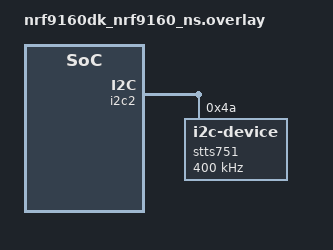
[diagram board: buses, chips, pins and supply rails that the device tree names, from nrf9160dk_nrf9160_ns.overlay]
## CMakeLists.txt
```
# SPDX-License-Identifier: Apache-2.0

cmake_minimum_required(VERSION 3.20.0)

find_package(Zephyr REQUIRED HINTS $ENV{ZEPHYR_BASE})
project(Smart-farm)

target_sources(app PRIVATE src/main.c)
target_sources(app PRIVATE src/cloud_connection.c)
target_sources(app PRIVATE src/cloud_connection.h)
target_sources(app PRIVATE src/lte_connection.c)
target_sources(app PRIVATE src/lte_connection.h)
target_sources(app PRIVATE src/data_aquistion.c)
target_sources(app PRIVATE src/data_aquistion.h)
```

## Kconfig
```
menu "Smart-farm"

config COAP_SERVER_HOSTNAME
	string "CoAP server hostname"

config COAP_SERVER_PORT
	int "CoAP server port"
	default 5683

config COAP_TX_RESOURCE
	string "CoAP resource - this is the TX channel of the board"
	default "large-update"

config COAP_RX_RESOURCE
	string "CoAP resource - this is the RX channel of the board"
	default "validate"

endmenu

menu "Zephyr Kernel"
source "Kconfig.zephyr"
endmenu
```

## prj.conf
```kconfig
# Memory
CONFIG_HEAP_MEM_POOL_SIZE=4096
CONFIG_MAIN_STACK_SIZE=4096

CONFIG_LOG=y
CONFIG_MODEM=y
CONFIG_NEWLIB_LIBC_MIN_REQUIRED_HEAP_SIZE=2048


# # Support for multithreading
# CONFIG_MULTITHREADING=y


# General config
CONFIG_EVENTS=y
CONFIG_NEWLIB_LIBC=y
CONFIG_NEWLIB_LIBC_FLOAT_PRINTF=y
CONFIG_RESET_ON_FATAL_ERROR=y
CONFIG_NCS_SAMPLES_DEFAULTS=y

# Modem library
CONFIG_NRF_MODEM_LIB=y

# LTE link control
CONFIG_LTE_LINK_CONTROL=y

# Enable CoAP protocol
CONFIG_COAP=y

# Button and LED support
CONFIG_DK_LIBRARY=y

# Enable I2C protocol
CONFIG_I2C=y

#Enable SPI protocol
CONFIG_SPI=y


#Enable floating point format
CONFIG_CBPRINTF_FP_SUPPORT=y

#Cloud
CONFIG_NRF_CLOUD_CONNECTION_POLL_THREAD=y
# nRF Cloud
CONFIG_NRF_CLOUD_MQTT=y # This also enables FOTA by implicitly setting CONFIG_NRF_CLOUD_FOTA=y

# Settings - used by nRF Cloud library and PGPS
CONFIG_SETTINGS=y
CONFIG_SETTINGS_FCB=y
CONFIG_FCB=y


# MQTT
CONFIG_MQTT_KEEPALIVE=120

#json 
CONFIG_CJSON_LIB=y
CONFIG_NEWLIB_LIBC=y
CONFIG_NEWLIB_LIBC_FLOAT_PRINTF=y

CONFIG_DATE_TIME=y

# Network
CONFIG_NETWORKING=y
CONFIG_NET_NATIVE=n
CONFIG_NET_SOCKETS=y
CONFIG_NET_SOCKETS_OFFLOAD=y
CONFIG_NET_SOCKETS_POSIX_NAMES=y

#Configure the CoAP server hostname
CONFIG_COAP_SERVER_HOSTNAME="californium.eclipseprojects.io"

#Configure the CoAP resource for TX and RX communication
CONFIG_COAP_TX_RESOURCE="large-update"
CONFIG_COAP_RX_RESOURCE="validate"
```

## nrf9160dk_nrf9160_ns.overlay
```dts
// To get started, press Ctrl+Space to bring up the completion menu and view the available nodes.

// You can also use the buttons in the sidebar to perform actions on nodes.
// Actions currently available include:

// * Enabling / disabling the node
// * Adding the bus to a bus
// * Removing the node
// * Connecting ADC channels

// For more help, browse the DeviceTree documentation at https://docs.zephyrproject.org/latest/guides/dts/index.html
// You can also visit the nRF DeviceTree extension documentation at https://nrfconnect.github.io/vscode-nrf-connect/devicetree/nrfdevicetree.html
&i2c2 {
    stts751: stts751@4a{
        compatible = "i2c-device";
        status = "okay";
        sda-pin = <30>;
	    scl-pin = <31>;
        reg = < 0x4a >;
        clock-frequency = <I2C_BITRATE_FAST>;
    };
};
```

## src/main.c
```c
#include "data_aquistion.h"
#include "cloud_connection.h"

#include <zephyr/kernel.h>
#include <zephyr/logging/log.h>

#include <zephyr/device.h>
#include <zephyr/devicetree.h>

#define STACK_SIZE 2048

LOG_MODULE_REGISTER(main, LOG_LEVEL_DBG);

K_THREAD_DEFINE(con_thread, STACK_SIZE, cloud_connection_thread,
				NULL, NULL, NULL, 0, 0, 0);

K_THREAD_DEFINE(application_thread, STACK_SIZE, main_application_thread_fn,
				NULL, NULL, NULL, 0, 0, 0);

int main(void)
{
	return 0;
}
```

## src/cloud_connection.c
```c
#include "cloud_connection.h"
#include "lte_connection.h"

LOG_MODULE_REGISTER(connection, LOG_LEVEL_DBG);

/* Flow control event objects for waiting for key events. */
static K_EVENT_DEFINE(cloud_connection_events);

/**
 * @brief Notify that connection to nRF Cloud has been established.
 */
static void notify_cloud_connected(void)
{
	k_event_post(&cloud_connection_events, CLOUD_READY);
}

/**
 * @brief Notify that a cloud association request has been made.
 */
static void notify_cloud_requested_association(void)
{
	k_event_post(&cloud_connection_events, CLOUD_ASSOCIATION_REQUEST);
}

/**
 * @brief Await a connection to nRF Cloud (ignoring LTE connection state and cloud readiness).
 *
 * @param timeout - The time to wait before timing out.
 * @return true if occurred.
 * @return false if timed out.
 */
static bool await_cloud_connected(k_timeout_t timeout)
{
	LOG_DBG("Awaiting Cloud Connection");
	return k_event_wait(&cloud_connection_events, CLOUD_CONNECTED, false, timeout) != 0;
}

/**
 * @brief Clear nRF Cloud connection events.
 */
static void clear_cloud_connection_events(void)
{
	k_event_set(&cloud_connection_events, 0);
}

/**
 * @brief Notify that a cloud association request has been made.
 */
static bool cloud_has_requested_association(void)
{
	return k_event_wait(&cloud_connection_events, CLOUD_ASSOCIATION_REQUEST,
						false, K_NO_WAIT) != 0;
}

/**
 * @brief Wait for nRF Cloud readiness.
 *
 * @param timeout - The time to wait before timing out.
 * @param timeout_on_disconnection - Should cloud disconnection events count as a timeout?
 * @return true if occurred.
 * @return false if timed out.
 */
static bool await_cloud_ready(k_timeout_t timeout, bool timeout_on_disconnection)
{
	LOG_INF("Awaiting Cloud Ready");
	int await_condition = CLOUD_READY;

	if (timeout_on_disconnection)
	{
		await_condition |= CLOUD_DISCONNECTED;
	}

	return k_event_wait(&cloud_connection_events, await_condition,
						false, timeout) == CLOUD_READY;
}

/**
 * @brief Notify that cloud connection is ready.
 */
static void notify_cloud_ready(void)
{
	k_event_post(&cloud_connection_events, CLOUD_READY);
}

bool cloud_is_connected(void)
{
	return k_event_wait(&cloud_connection_events, CLOUD_CONNECTED, false, K_NO_WAIT) != 0;
}

bool await_date_time_known(k_timeout_t timeout)
{
	return k_event_wait(&cloud_connection_events, DATE_TIME_KNOWN, false, timeout) != 0;
}

void disconnect_cloud(void)
{
	k_event_post(&cloud_connection_events, CLOUD_DISCONNECTED);
}

bool await_cloud_disconnection(k_timeout_t timeout)
{
	return k_event_wait(&cloud_connection_events, CLOUD_DISCONNECTED, false, timeout) != 0;
}

bool cloud_is_disconnecting(void)
{
	return k_event_wait(&cloud_connection_events, CLOUD_DISCONNECTED, false, K_NO_WAIT) != 0;
}

bool await_connection(k_timeout_t timeout)
{
	return await_cloud_ready(timeout, false);
}

static void reset_cloud(void)
{
	int err;

	/* Wait for a few seconds to help residual events settle. */
	LOG_INF("Disconnecting from nRF Cloud");
	k_sleep(K_SECONDS(20));

	/* Disconnect from nRF Cloud */
	err = nrf_cloud_disconnect();

	/* nrf_cloud_uninit returns -EACCES if we are not currently in a connected state. */
	if (err == -EACCES)
	{
		LOG_INF("Cannot disconnect from nRF Cloud because we are not currently connected");
	}
	else if (err)
	{
		LOG_ERR("Cannot disconnect from nRF Cloud, error: %d. Continuing anyways", err);
	}
	else
	{
		LOG_INF("Successfully disconnected from nRF Cloud");
	}

	/* Clear cloud connection event state (reset to initial state). */
	clear_cloud_connection_events();
}

/**
 * @brief Handler for events from nRF Cloud Lib.
 *
 * @param nrf_cloud_evt Passed in event.
 */
static void nrf_cloud_event_handler(const struct nrf_cloud_evt *evt)
{

	switch (evt->type)
	{
	case NRF_CLOUD_EVT_TRANSPORT_CONNECTED:
		LOG_INF("***NRF_CLOUD_EVT_TRANSPORT_CONNECTED***");
		notify_cloud_connected();
		break;

	case NRF_CLOUD_EVT_TRANSPORT_CONNECTING:
		LOG_INF("***NRF_CLOUD_EVT_TRANSPORT_CONNECTING***");
		break;

	case NRF_CLOUD_EVT_USER_ASSOCIATION_REQUEST:
		LOG_INF("***NRF_CLOUD_EVT_USER_ASSOCIATION_REQUEST***");
		LOG_INF("Add the device to nRF Cloud to complete user association");
		notify_cloud_requested_association();
		break;

	case NRF_CLOUD_EVT_USER_ASSOCIATED:
		LOG_INF("***NRF_CLOUD_EVT_USER_ASSOCIATED***");

		if (cloud_has_requested_association())
		{
			LOG_INF("Device successfully associated with cloud!");
			disconnect_cloud();
		}

		break;

	case NRF_CLOUD_EVT_READY:
		LOG_INF("***NRF_CLOUD_EVT_READY***");
		notify_cloud_ready();
		break;

	case NRF_CLOUD_EVT_TRANSPORT_DISCONNECTED:
		LOG_INF("NRF_CLOUD_EVT_TRANSPORT_DISCONNECTED");
		disconnect_cloud();
		break;

	case NRF_CLOUD_EVT_TRANSPORT_CONNECT_ERROR:
		break;

	case NRF_CLOUD_EVT_ERROR:
		LOG_ERR("NRF_CLOUD_EVT_ERROR: %d", evt->status);
		break;

	case NRF_CLOUD_EVT_SENSOR_DATA_ACK:
		LOG_INF("Sensor data received on NRF Cloud");
		break;

	case NRF_CLOUD_EVT_RX_DATA_SHADOW:
		LOG_DBG("NRF_CLOUD_EVT_RX_DATA_SHADOW");
		break;

	default:
		LOG_ERR("Unknown nRF Cloud event type: %d", evt->type);
		break;
	}
}

/**
 * @brief Establish a connection to nRF Cloud (presuming we are connected to LTE).
 *
 * @return int - 0 on success, otherwise negative error code.
 */
int connect_cloud(void)
{
	int err;

	LOG_INF("Connecting to nRF Cloud...");

	err = nrf_cloud_connect();
	if (err)
	{
		LOG_ERR("cloud_connect, error: %d", err);
	}
	/* Wait for cloud connection success. If succeessful, break out of the loop. */
	if (await_cloud_connected(K_SECONDS(CONFIG_CLOUD_CONNECTION_RETRY_TIMEOUT_SECONDS)))
		{
			LOG_INF("Cloud is ready");
		}
	/* Wait for cloud to become ready, resetting if we time out or are disconnected. */
	if (!await_cloud_ready(K_SECONDS(CLOUD_READY_TIMEOUT_SECONDS), true))
	{
		LOG_INF("nRF Cloud failed to become ready. Resetting connection.");
		reset_cloud();
		return -ETIMEDOUT;
	}

	LOG_INF("Connected to nRF Cloud");

	return err;
}

/**
 * @brief Set up the nRF Cloud library
 * Must be called before setup_lte, so that pending FOTA jobs can be checked before LTE init.
 * @return int - 0 on success, otherwise negative error code.
 */
int setup_cloud(void)
{
	/* Initialize nrf_cloud library. */
	struct nrf_cloud_init_param params = {
		.event_handler = nrf_cloud_event_handler,
		.application_version = "V1.0"};

	int err = nrf_cloud_init(&params);

	if (err)
	{
		LOG_ERR("nRF Cloud library could not be initialized, error: %d", err);
		return err;
	}

	return 0;
}

void cloud_connection_thread(void)
{
	int err;

	LOG_INF("Setting up modem...");
	err = modem_configure();
	if (err)
	{
		LOG_ERR("Failed to configure the modem");
		return;
	}

	LOG_INF("Setting up nRF Cloud library...");
	if (setup_cloud())
	{
		LOG_ERR("Fatal: nRF Cloud library setup failed");
		return;
	}
	LOG_INF("nRF Cloud library setup Sucessful");

	while (true)
	{

		LOG_INF("Waiting for connection to LTE network...");

		(void)await_lte_connection(K_FOREVER);
		LOG_INF("Connected to LTE network");

		if (!connect_cloud())
		{
			(void)await_cloud_disconnection(K_FOREVER);
			LOG_INF("Disconnected from nRF Cloud");
		}
		else
		{

			LOG_INF("Failed to connect to nRF Cloud");
		}
		/* Reset cloud connection state before trying again. */
		reset_cloud();

		/* Wait a bit before trying again. */
		k_sleep(K_SECONDS(CONFIG_CLOUD_CONNECTION_REESTABLISH_DELAY_SECONDS));
	}
}
```

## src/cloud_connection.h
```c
#include <net/nrf_cloud.h>
#include <zephyr/net/mqtt.h>
#include <cJSON.h>
#include <zephyr/logging/log.h>

#define CLOUD_READY_TIMEOUT_SECONDS 60
#define CONFIG_CLOUD_CONNECTION_RETRY_TIMEOUT_SECONDS 30
#define CONFIG_CLOUD_CONNECTION_REESTABLISH_DELAY_SECONDS 30

/* CLOUD_CONNECTED is fired when we first connect to the nRF Cloud.
 * CLOUD_READY is fired when the connection is fully associated and ready to send device messages.
 * CLOUD_ASSOCIATION_REQUEST is a special state only used when first associating a device with
 *				an nRF Cloud user account.
 * CLOUD_DISCONNECTED is fired when disconnection is detected or requested, and will trigger
 *				a total reset of the nRF cloud connection, and the event flag state.
 */

#define CLOUD_READY			(1 << 2)
#define CLOUD_ASSOCIATION_REQUEST     (1 << 3)
#define CLOUD_CONNECTED                (1 << 1)
#define CLOUD_DISCONNECTED		(1 << 4)
/* Time either is or is not known. This is only fired once, and is never cleared. */
#define DATE_TIME_KNOWN			(1 << 1)


bool cloud_is_connected(void);

void disconnect_cloud(void);

bool await_cloud_disconnection(k_timeout_t timeout);

bool cloud_is_disconnecting(void);

int send_device_message_cJSON(cJSON *msg_obj);

void cloud_connection_thread(void);

bool await_connection(k_timeout_t timeout);

bool await_date_time_known(k_timeout_t timeout);
```

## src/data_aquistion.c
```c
#include "data_aquistion.h"
#include <zephyr/kernel.h>

LOG_MODULE_REGISTER(Smart_farm_data, LOG_LEVEL_DBG);

/* Timer used to time the sensor sampling rate. */
static K_TIMER_DEFINE(sensor_sample_timer, NULL, NULL);

static const struct i2c_dt_spec dev_i2c = I2C_DT_SPEC_GET(I2C2_NODE);

/**
 * @brief Write config values to I2C config register.
 */
int write_to_temp_sensor()
{
    if (!device_is_ready(dev_i2c.bus))
    {
        LOG_INF("I2C bus %s is not ready!\n\r", dev_i2c.bus->name);
        return -1;
    }

    printk("I2C bus name is : %s\n", dev_i2c.bus->name);
    uint8_t config[2] = {STTS751_CONFIG_REG, 0x8C};
    int ret;
    ret = i2c_write_dt(&dev_i2c, config, sizeof(config));
    if (ret != 0)
    {
        printk("Inside write - Failed to write to I2C device address %x at Reg. %x \n", dev_i2c.addr, config[0]);
        return -1;
    }
}

/**
 * @brief Read from I2C config register.
 * on Success returns temperature value in Celcius
 */
float read_from_temp_register()
{
    uint8_t temp_reading[2] = {0};
    uint8_t sensor_regs[2] = {STTS751_TEMP_LOW_REG, STTS751_TEMP_HIGH_REG};
    int ret = i2c_write_read_dt(&dev_i2c, &sensor_regs[0], 1, &temp_reading[0], 1);
    if (ret != 0)
    {
        printk("Failed to write/read I2C device address %x at Reg. %x \r\n", dev_i2c.addr, sensor_regs[0]);
    }
    ret = i2c_write_read_dt(&dev_i2c, &sensor_regs[1], 1, &temp_reading[1], 1);
    if (ret != 0)
    {
        printk("Failed to write/read I2C device address %x at Reg. %x \r\n", dev_i2c.addr, sensor_regs[1]);
    }
    int temp = ((int)temp_reading[1] * 256 + ((int)temp_reading[0] & 0xF0)) / 16;
    if (temp > 2047)
    {
        temp -= 4096;
    }
    // Convert to celcius
    double cTemp = temp * 0.0625;

    return cTemp;
}
/**
 * @brief Create JSON object with time and date.
 * On success returns JSON object, else NULL
 */
static cJSON *create_timestamped_device_message(const char *const appid, const char *const msg_type)
{
    cJSON *msg_obj = NULL;
    int64_t timestamp;

    /* Acquire timestamp */
    if (date_time_now(&timestamp))
    {
        LOG_ERR("Failed to create timestamp for data message "
                "with appid %s",
                appid);
        return NULL;
    }

    /* Create container object */
    msg_obj = json_create_req_obj(appid, msg_type);
    if (msg_obj == NULL)
    {
        LOG_ERR("Failed to create container object for timestamped data message "
                "with appid %s and message type %s",
                appid, msg_type);
        return NULL;
    }

    /* Add timestamp to container object */
    if (!cJSON_AddNumberToObject(msg_obj, NRF_CLOUD_MSG_TIMESTAMP_KEY, (double)timestamp))
    {
        LOG_ERR("Failed to add timestamp to data message with appid %s and message type %s",
                appid, msg_type);
        cJSON_Delete(msg_obj);
        return NULL;
    }

    return msg_obj;
}

/**
 * @brief Sends sensor data to cloud
 */
static int send_sensor_data_to_cloud(const char *const sensor, double value)
{
    int ret = 0;
    char *msg = NULL;

    /* Create a timestamped message container object for the sensor sample. */
    cJSON *msg_obj = create_timestamped_device_message(
        sensor, NRF_CLOUD_JSON_MSG_TYPE_VAL_DATA);

    if (msg_obj == NULL)
    {
        ret = -EINVAL;
        goto cleanup;
    }

    if (cJSON_AddNumberToObject(msg_obj, sensor, value) == NULL)
    {
        ret = -ENOMEM;
        LOG_ERR("Failed to append value to %s sample container object ",
                sensor);
        goto cleanup;
    }

    if (!msg_obj)
    {
        LOG_ERR("Cannot send NULL device message object");
        return -EINVAL;
    }

    /* Convert message object to a string. */
    msg = cJSON_PrintUnformatted(msg_obj);
    if (msg == NULL)
    {
        LOG_ERR("Failed to convert cJSON device message object to string");
        return -ENOMEM;
    }

    struct nrf_cloud_tx_data mqtt_msg = {
        .data.ptr = msg,
        .data.len = strlen(msg),
        .qos = MQTT_QOS_1_AT_LEAST_ONCE,
        .topic_type = NRF_CLOUD_TOPIC_MESSAGE,
    };

    if (!nrf_cloud_send(&mqtt_msg))
    {
        LOG_INF("Device message sent successfully with error code %d", ret);
    }
    else
    {
        LOG_ERR("Transmission of device message failed, nrf_cloud_send "
                "gave error: %d. The message will be re-enqueued and tried again "
                "later.",
                ret);
    }

cleanup:
    if (msg_obj)
    {
        cJSON_Delete(msg_obj);
    }

    return ret;
}

void main_application_thread_fn(void)
{
    /* Wait for first connection before starting the application. */
    (void)await_connection(K_FOREVER);

    float temp;

    (void)nrf_cloud_alert_send(ALERT_TYPE_DEVICE_NOW_ONLINE, 0, NULL);

    LOG_INF("Waiting for modem to determine current date and time");
    if (!await_date_time_known(K_SECONDS(CONFIG_DATE_TIME_ESTABLISHMENT_TIMEOUT_SECONDS)))
    {
        LOG_WRN("Failed to determine valid date time. Proceeding anyways");
    }
    else
    {
        LOG_INF("Current date and time determined");
    }

    nrf_cloud_log_init();
    /* Send a direct log to the nRF Cloud web portal indicating the sample has started up. */
    nrf_cloud_log_send(LOG_LEVEL_INF, "Smart farm v%s",
                       "1.0");

    while (true)
    {
        k_timer_start(&sensor_sample_timer,
                      K_SECONDS(CONFIG_SENSOR_SAMPLE_INTERVAL_SECONDS), K_FOREVER);
        temp = read_from_temp_register();

        if (temp)
        {
            (void)send_sensor_data_to_cloud(NRF_CLOUD_JSON_APPID_VAL_TEMP, temp);
        }
        /* Wait out any remaining time on the sample interval timer. */
        k_timer_status_sync(&sensor_sample_timer);
    }
}
```

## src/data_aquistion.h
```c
#include <zephyr/logging/log.h>
#include <stdio.h>
#include <zephyr/drivers/i2c.h>
#include <cJSON.h>
#include <net/nrf_cloud_codec.h>
#include <net/nrf_cloud_log.h>
#include <net/nrf_cloud_alert.h>
#include <date_time.h>

#include "cloud_connection.h"

#define CONFIG_SENSOR_SAMPLE_INTERVAL_SECONDS 30
#define CONFIG_DATE_TIME_ESTABLISHMENT_TIMEOUT_SECONDS 30
#define STTS751_TEMP_HIGH_REG 0x00
#define STTS751_TEMP_LOW_REG 0x02
#define STTS751_CONFIG_REG 0x03

#define I2C2_NODE DT_NODELABEL(stts751)

int write_to_temp_sensor();

float read_from_temp_register();

void main_application_thread_fn(void);
```

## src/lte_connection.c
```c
#include "lte_connection.h"
#include <zephyr/logging/log.h>
#include <dk_buttons_and_leds.h>

LOG_MODULE_REGISTER(Smart_farm_lte, LOG_LEVEL_DBG);

static K_EVENT_DEFINE(lte_connection_events);

/**
 * @brief Notify that LTE connection has been established.
 */
static void notify_lte_connected(void)
{
	k_event_post(&lte_connection_events, LTE_CONNECTED);
}

/**
 * @brief Reset the LTE connection event flag.
 */
static void clear_lte_connected(void)
{
	k_event_set(&lte_connection_events, 0);
}

extern bool await_lte_connection(k_timeout_t timeout)
{
	LOG_DBG("Awaiting LTE Connection");
	return k_event_wait_all(&lte_connection_events, LTE_CONNECTED, false, timeout) != 0;
}

/**
 * @brief Handler for LTE events coming from modem.
 *
 * @param evt Events from modem.
 */
extern void lte_handler(const struct lte_lc_evt *const evt)
{

	switch (evt->type)
	{
	case LTE_LC_EVT_NW_REG_STATUS:
		if ((evt->nw_reg_status != LTE_LC_NW_REG_REGISTERED_HOME) &&
			(evt->nw_reg_status != LTE_LC_NW_REG_REGISTERED_ROAMING))
		{
			clear_lte_connected();
		}
		else
		{
			notify_lte_connected();
		}

		LOG_INF("Network registration status: %s",
				evt->nw_reg_status == LTE_LC_NW_REG_REGISTERED_HOME ? "Connected - home network" : "Connected - roaming");
		break;

	case LTE_LC_EVT_RRC_UPDATE:
		LOG_INF("RRC mode: %s", evt->rrc_mode == LTE_LC_RRC_MODE_CONNECTED ? "Connected" : "Idle");
		break;

	default:
		break;
	}
}

/**
 * @brief Set up and configure LTE and start trying to connect.
 * @return int - 0 on success, otherwise a negative error code.
 */

extern int modem_configure(void)
{
	int err;

	LOG_INF("Initializing modem library");

	err = nrf_modem_lib_init();

	if (err < 0)
	{
		LOG_ERR("Modem library initialization failed, error: %d", err);
		return err;
	}
	else if (err == NRF_MODEM_DFU_RESULT_OK)
	{
		LOG_DBG("Modem library initialized after "
				"successful modem firmware update.");
	}
	else if (err > 0)
	{
		LOG_ERR("Modem library initialized after "
				"failed modem firmware update, error: %d",
				err);
	}
	else
	{
		LOG_DBG("Modem library initialized.");
	}

	err = lte_lc_modem_events_enable();

	if (err)
	{
		LOG_ERR("lte_lc_modem_events_enable failed, error: %d", err);
		return err;
	}

	LOG_INF("Connecting to LTE network");

	err = lte_lc_init_and_connect_async(lte_handler);
	if (err)
	{
		LOG_ERR("Modem could not be configured, error: %d", err);
		return err;
	}
	dk_set_led_on(DK_LED2);

	return 0;
}
```

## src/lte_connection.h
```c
#ifndef LTE_CONNECTION_H
#define LTE_CONNECTION_H

#include <modem/nrf_modem_lib.h>
#include <modem/lte_lc.h>

/* LTE either is connected or isn't */
#define LTE_CONNECTED (1 << 1)

extern void lte_handler(const struct lte_lc_evt *const evt);

extern int modem_configure(void);

extern bool await_lte_connection(k_timeout_t timeout);

#endif /* _LTE_CONNECTION_H */
```
